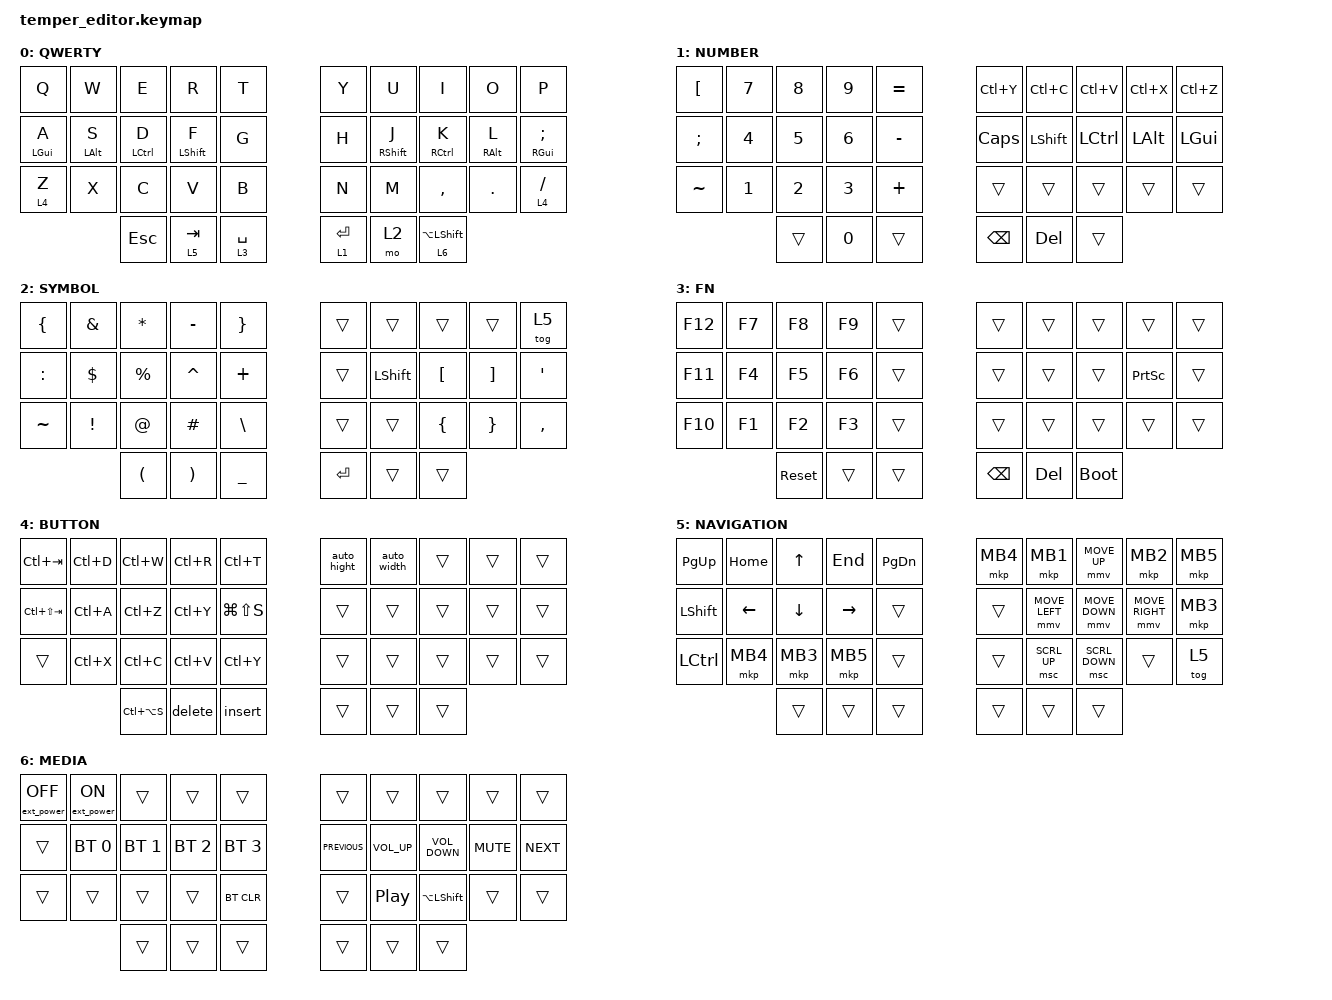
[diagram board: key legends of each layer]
/*
 * Copyright (c) 2020 The ZMK Contributors
 *
 * SPDX-License-Identifier: MIT
 */
/*
 * Temper 36 - editor-friendly keymap (NO preprocessor macros)
 */

#include <input/processors.dtsi>
#include <behaviors.dtsi>
#include <dt-bindings/zmk/bt.h>
#include <dt-bindings/zmk/ext_power.h>
#include <dt-bindings/zmk/keys.h>
#include <dt-bindings/zmk/pointing.h>

&mmv_input_listener { input-processors = <&zip_xy_scaler 2 1>; };

&msc_input_listener { input-processors = <&zip_scroll_scaler 2 1>; };

&msc {
};

&mmv {
};

&mt {
    flavor = "tap-preferred";
    require-prior-idle-ms = <125>;
    quick-tap-ms = <150>;
};

/ {
    behaviors {
        /* Tap dance: tap = Shift, double tap = Caps */

        td0: td0 {
            compatible = "zmk,behavior-tap-dance";
            display-name = "Shift/Caps Tap Dance";
            #binding-cells = <0>;
            bindings = <&kp LSHFT>, <&kp CAPS>;
        };

        /* Tap dance: tap = LALT, double tap = LGUI */

        new_behavior: new_behavior {
            compatible = "zmk,behavior-tap-dance";
            display-name = "Alt/Gui Tap Dance";
            #binding-cells = <0>;
            bindings = <&kp LALT>, <&kp LGUI>;
        };
    };

    combos {
        compatible = "zmk,combos";

        Backspace {
            bindings = <&kp BACKSPACE>;
            key-positions = <16 17>;
            layers = <0 2 1 3 4 6>;
        };

        Delete {
            bindings = <&kp DEL>;
            key-positions = <17 18>;
            layers = <0 1 2 3 4 6>;
        };
    };

    macros {
        insert: insert {
            compatible = "zmk,behavior-macro";
            #binding-cells = <0>;
            bindings = <&kp LCTRL &kp LEFT_SHIFT &kp PLUS>;
            label = "INSERT";
        };

        delete: delete {
            compatible = "zmk,behavior-macro";
            #binding-cells = <0>;
            bindings = <&kp LCTRL &kp MINUS>;
            label = "DELETE";
        };

        auto_width: auto_width {
            compatible = "zmk,behavior-macro";
            #binding-cells = <0>;
            bindings = <&kp LEFT_ALT &kp H &kp O &kp I>;
            label = "AUTO_WIDTH";
        };

        auto_hight: auto_hight {
            compatible = "zmk,behavior-macro";
            #binding-cells = <0>;
            bindings = <&kp LEFT_ALT &kp H &kp O &kp A>;
            label = "AUTO_HIGHT";
        };
    };

    keymap {
        compatible = "zmk,keymap";

        /*
         * IMPORTANT:
         * This assumes your Temper36 matrix order is:
         * Row0: 10 keys
         * Row1: 10 keys
         * Row2: 10 keys
         * Row3: 6 thumbs (3 left + 3 right)
         */
        /* Layer 0: DEFAULT (QWERTY) */

        layer0 {
            display-name = "QWERTY";
            bindings = <
&kp Q           &kp W           &kp E               &kp R             &kp T        &kp Y        &kp U              &kp I                &kp O            &kp P
&mt LEFT_GUI A  &mt LEFT_ALT S  &mt LEFT_CONTROL D  &mt LEFT_SHIFT F  &kp G        &kp H        &mt RIGHT_SHIFT J  &mt RIGHT_CONTROL K  &mt RIGHT_ALT L  &mt RIGHT_GUI SEMI
&lt 4 Z         &kp X           &kp C               &kp V             &kp B        &kp N        &kp M              &kp COMMA            &kp DOT          &lt 4 FSLH
                                &kp ESCAPE          &lt 5 TAB         &lt 3 SPACE  &lt 1 ENTER  &mo 2              &lt 6 LA(LSHFT)
            >;
        };

        /* Layer 1: LOWER / NUMBER */

        layer1 {
            display-name = "NUMBER";
            bindings = <
&kp LEFT_BRACKET  &kp NUMBER_7  &kp NUMBER_8  &kp NUMBER_9  &kp EQUAL  &kp LC(Y)     &kp LC(C)       &kp LC(V)         &kp LC(X)     &kp LC(Z)
&kp SEMI          &kp NUMBER_4  &kp NUMBER_5  &kp NUMBER_6  &kp MINUS  &kp CAPSLOCK  &kp LEFT_SHIFT  &kp LEFT_CONTROL  &kp LEFT_ALT  &kp LGUI
&kp TILDE         &kp NUMBER_1  &kp NUMBER_2  &kp NUMBER_3  &kp PLUS   &trans        &trans          &trans            &trans        &trans
                                &trans        &kp NUMBER_0  &trans     &kp BSPC      &kp DEL         &trans
            >;
        };

        /* Layer 2: RAISE / SYMBOL */

        layer2 {
            display-name = "SYMBOL";
            bindings = <
&kp LBRC   &kp AMPERSAND    &kp ASTERISK  &kp MINUS  &kp RBRC       &trans   &trans          &trans    &trans    &tog 5
&kp COLON  &kp DOLLAR       &kp PERCENT   &kp CARET  &kp PLUS       &trans   &kp LEFT_SHIFT  &kp LBKT  &kp RBKT  &kp APOS
&kp TILDE  &kp EXCLAMATION  &kp AT        &kp HASH   &kp BACKSLASH  &trans   &trans          &kp LBRC  &kp RBRC  &kp COMMA
                            &kp LPAR      &kp RPAR   &kp UNDER      &kp RET  &trans          &trans
            >;
        };

        /* Layer 3: FN */

        FUNCTION {
            display-name = "FN";
            bindings = <
&kp F12  &kp F7  &kp F8      &kp F9  &trans  &trans    &trans   &trans       &trans     &trans
&kp F11  &kp F4  &kp F5      &kp F6  &trans  &trans    &trans   &trans       &kp PSCRN  &trans
&kp F10  &kp F1  &kp F2      &kp F3  &trans  &trans    &trans   &trans       &trans     &trans
                 &sys_reset  &trans  &trans  &kp BSPC  &kp DEL  &bootloader
            >;
        };

        BUTTON {
            display-name = "BUTTON";
            bindings = <
&kp LC(TAB)      &kp LC(D)  &kp LC(W)      &kp LC(R)  &kp LC(T)      &auto_hight  &auto_width  &trans  &trans  &trans
&kp LC(LS(TAB))  &kp LC(A)  &kp LC(Z)      &kp LC(Y)  &kp LG(LS(S))  &trans       &trans       &trans  &trans  &trans
&trans           &kp LC(X)  &kp LC(C)      &kp LC(V)  &kp LC(Y)      &trans       &trans       &trans  &trans  &trans
                            &kp LC(LA(S))  &delete    &insert        &trans       &trans       &trans
            >;
        };

        NAV {
            display-name = "NAVIGATION";
            bindings = <
&kp PG_UP         &kp HOME        &kp UP_ARROW  &kp END    &kp PG_DN  &mkp MB4  &mkp MB1        &mmv MOVE_UP    &mkp MB2         &mkp MB5
&kp LEFT_SHIFT    &kp LEFT_ARROW  &kp DOWN      &kp RIGHT  &trans     &trans    &mmv MOVE_LEFT  &mmv MOVE_DOWN  &mmv MOVE_RIGHT  &mkp MB3
&kp LEFT_CONTROL  &mkp MB4        &mkp MB3      &mkp MB5   &trans     &trans    &msc SCRL_UP    &msc SCRL_DOWN  &trans           &tog 5
                                  &trans        &trans     &trans     &trans    &trans          &trans
            >;
        };

        MEDIA {
            display-name = "MEDIA";
            bindings = <
&ext_power EP_OFF  &ext_power EP_ON  &trans        &trans        &trans        &trans          &trans            &trans              &trans      &trans
&trans             &bt BT_SEL 0      &bt BT_SEL 1  &bt BT_SEL 2  &bt BT_SEL 3  &kp C_PREVIOUS  &kp C_VOLUME_UP   &kp C_VOLUME_DOWN   &kp C_MUTE  &kp C_NEXT
&trans             &trans            &trans        &trans        &bt BT_CLR    &trans          &kp C_PLAY_PAUSE  &kp LA(LEFT_SHIFT)  &trans      &trans
                                     &trans        &trans        &trans        &trans          &trans            &trans
            >;
        };
    };
};
